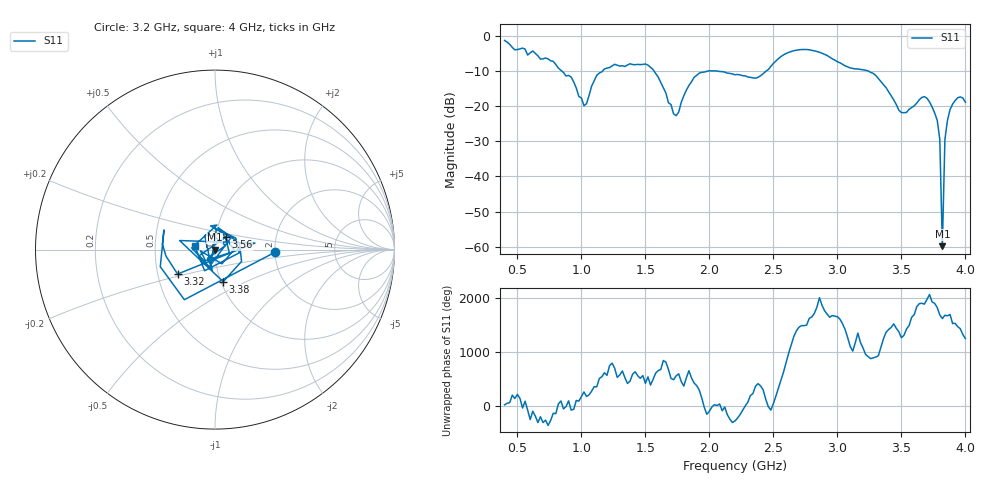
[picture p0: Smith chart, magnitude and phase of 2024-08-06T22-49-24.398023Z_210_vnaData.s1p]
!Created with skrf (http://scikit-rf.org).
# Hz S RI R 50.0
!freq ReS11 ImS11
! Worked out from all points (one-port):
!   181 points, 400 MHz to 4 GHz, reference 50 ohm
!   lowest |S11| = -59.9 dB at 3.82 GHz (marker M1), VSWR 1.00, Z = 49.9 + j0.00298 ohm
!   |S11| at or under -10 dB: 1.569 GHz to 1.984 GHz (414.9 MHz wide, 23.4 % of centre); 2.069 GHz to 2.442 GHz (373.4 MHz wide, 16.6 % of centre); 3.244 GHz to end of sweep (the widest 3 of 4)
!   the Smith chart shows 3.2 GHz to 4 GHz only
!   S11 on the Smith chart (normalised r, x): 3.2 GHz: 1.99, -0.07; 3.32 GHz: 0.63, -0.18; 3.38 GHz: 1.02, -0.38; 3.56 GHz: 1.11, +0.15; 4 GHz: 0.80, +0.03
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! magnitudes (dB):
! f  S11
! 400 MHz  -1.2
! 860 MHz  -10.4
! 920 MHz  -11.7
! 1.02 GHz  -19.8
! 1.12 GHz  -11.2
! 1.3 GHz  -8.5
! 1.52 GHz  -8.3
! 1.6 GHz  -11.7
! 1.72 GHz  -22.2
! 1.76 GHz  -21.7
! 1.92 GHz  -10.6
! 2.2 GHz  -11.0
! 2.38 GHz  -11.7
! 2.66 GHz  -4.1
! 3.1 GHz  -9.1
! 3.2 GHz  -9.6
! 3.32 GHz  -12.1
! 3.38 GHz  -14.7
! 3.48 GHz  -21.1
! 3.56 GHz  -20.9
! 3.68 GHz  -17.2
! 3.78 GHz  -24.0
! 3.8 GHz  -29.4
! 3.82 GHz  -59.9
! 3.84 GHz  -29.4
! 3.86 GHz  -24.0
! 3.94 GHz  -17.6
! 4 GHz  -18.8
